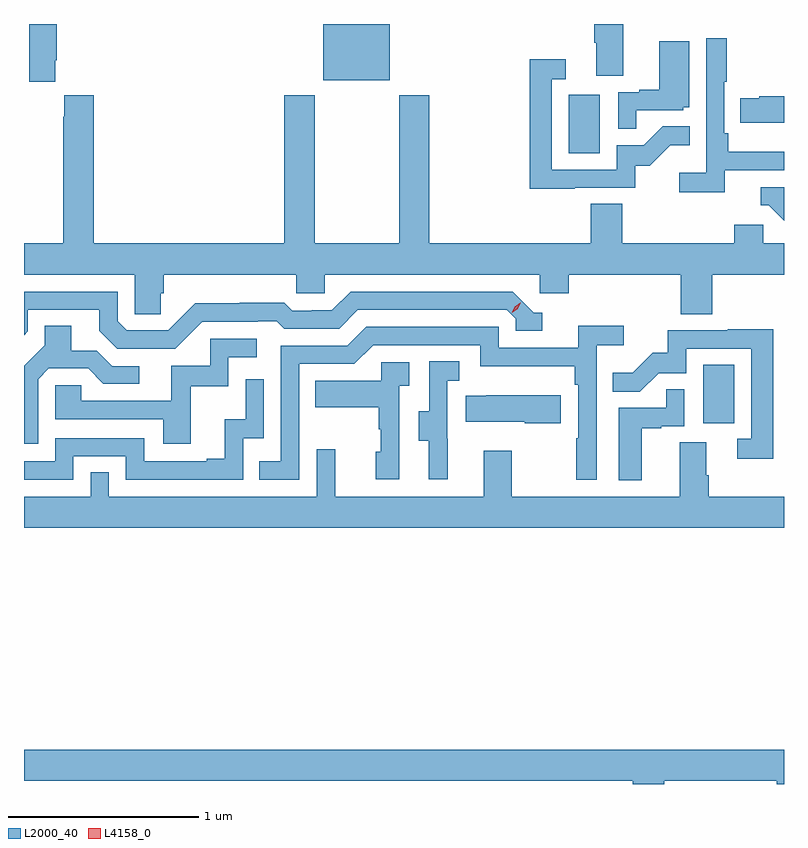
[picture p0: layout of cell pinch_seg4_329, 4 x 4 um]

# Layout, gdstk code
import gdstk
lib = gdstk.Library(unit=1e-6, precision=1e-09)
def R(c, l, rs):  # rectangles x0, y0, x1, y1
    for r in rs: c.add(gdstk.rectangle(r[:2], r[2:], *l))
def P(c, l, *ps):  # polygons
    for p in ps: c.add(gdstk.Polygon(p, *l))
L2000_40 = (2000, 40)
L4158_0 = (4158, 0)

pinch_seg4_329 = lib.new_cell('pinch_seg4_329')
R(pinch_seg4_329, L2000_40, [(986.762,809.358,986.926,809.665), (986.054,810.78,986.218,811.087), (984.764,811.163,985.114,811.459)])
P(pinch_seg4_329, L2000_40, [(983.353,811.267),(983.36,811.267),(983.36,811.459),(983.216,811.459),(983.216,811.155),(983.353,811.155)],
  [(986.341,811.459),(986.189,811.459),(986.189,811.36),(986.201,811.36),(986.201,811.186),(986.341,811.186)],
  [(986.876,810.69),(987.188,810.69),(987.188,810.787),(986.894,810.787),(986.894,810.883),(986.874,810.883),(986.874,811.156),(986.887,811.156),(986.887,811.384),(986.778,811.384),(986.778,810.676),(986.637,810.676),(986.637,810.574),(986.876,810.574)],
  [(986.411,811.005),(986.658,811.005),(986.658,811.02),(986.689,811.02),(986.689,811.369),(986.531,811.369),(986.531,811.114),(986.427,811.114),(986.427,811.101),(986.316,811.101),(986.316,810.907),(986.411,810.907)],
  [(986.087,810.597),(986.406,810.597),(986.406,810.714),(986.482,810.714),(986.589,810.821),(986.693,810.821),(986.693,810.92),(986.549,810.92),(986.451,810.822),(986.307,810.822),(986.307,810.693),(985.965,810.693),(985.965,811.167),(986.038,811.167),(986.038,811.273),(985.849,811.273),(985.849,810.592),(986.087,810.592)],
  [(983.909,810.042),(983.924,810.042),(983.924,810.14),(984.621,810.14),(984.621,810.042),(984.771,810.042),(984.771,810.14),(985.902,810.14),(985.902,810.042),(986.054,810.042),(986.054,810.14),(986.645,810.14),(986.645,809.932),(986.81,809.932),(986.81,810.14),(987.188,810.14),(987.188,810.304),(987.078,810.304),(987.078,810.402),(986.927,810.402),(986.927,810.304),(986.336,810.304),(986.336,810.512),(986.171,810.512),(986.171,810.304),(985.322,810.304),(985.322,811.084),(985.162,811.084),(985.162,810.304),(984.717,810.304),(984.717,811.084),(984.557,811.084),(984.557,810.304),(983.555,810.304),(983.555,811.084),(983.399,811.084),(983.399,810.971),(983.395,810.971),(983.395,810.304),(983.188,810.304),(983.188,810.14),(983.772,810.14),(983.772,809.932),(983.909,809.932)],
  [(987.188,811.078),(987.057,811.078),(987.057,811.068),(986.959,811.068),(986.959,810.938),(987.188,810.938)],
  [(987.188,810.6),(987.065,810.6),(987.065,810.504),(987.108,810.504),(987.188,810.424)],
  [(984.126,809.892),(984.419,809.892),(984.419,809.895),(984.518,809.895),(984.557,809.856),(984.846,809.856),(984.945,809.955),(985.728,809.955),(985.776,809.907),(985.776,809.844),(985.915,809.844),(985.915,809.94),(985.872,809.94),(985.761,810.051),(984.908,810.051),(984.809,809.952),(984.702,809.952),(984.702,809.949),(984.599,809.949),(984.557,809.992),(984.324,809.992),(984.324,809.989),(984.088,809.989),(983.946,809.847),(983.73,809.847),(983.682,809.895),(983.682,810.051),(983.188,810.051),(983.188,809.821),(983.208,809.841),(983.208,809.955),(983.585,809.955),(983.585,809.845),(983.679,809.751),(983.985,809.751)],
  [(983.262,809.589),(983.319,809.646),(983.525,809.646),(983.606,809.565),(983.794,809.565),(983.794,809.658),(983.652,809.658),(983.572,809.738),(983.437,809.738),(983.437,809.87),(983.297,809.87),(983.297,809.768),(983.19,809.661),(983.188,809.661),(983.188,809.25),(983.262,809.25)],
  [(984.636,809.67),(984.927,809.67),(985.026,809.769),(985.59,809.769),(985.59,809.657),(986.086,809.657),(986.086,809.561),(986.106,809.561),(986.106,809.279),(986.094,809.279),(986.094,809.061),(986.202,809.061),(986.202,809.768),(986.344,809.768),(986.344,809.87),(986.105,809.87),(986.105,809.754),(985.686,809.754),(985.686,809.865),(984.989,809.865),(984.89,809.766),(984.54,809.766),(984.54,809.157),(984.427,809.157),(984.427,809.061),(984.636,809.061)],
  [(987.131,809.852),(986.893,809.852),(986.893,809.847),(986.575,809.847),(986.575,809.73),(986.498,809.73),(986.391,809.623),(986.287,809.623),(986.287,809.524),(986.43,809.524),(986.528,809.622),(986.673,809.622),(986.673,809.751),(987.015,809.751),(987.015,809.277),(986.943,809.277),(986.943,809.172),(987.131,809.172)],
  [(984.065,809.553),(984.264,809.553),(984.264,809.706),(984.412,809.706),(984.412,809.802),(984.168,809.802),(984.168,809.661),(983.963,809.661),(983.963,809.475),(983.489,809.475),(983.489,809.559),(983.352,809.559),(983.352,809.379),(983.921,809.379),(983.921,809.25),(984.065,809.25)],
  [(985.418,809.277),(985.416,809.277),(985.416,809.581),(985.48,809.581),(985.48,809.684),(985.32,809.684),(985.32,809.421),(985.265,809.421),(985.265,809.266),(985.319,809.266),(985.319,809.064),(985.418,809.064)],
  [(985.164,809.555),(985.216,809.555),(985.216,809.679),(985.068,809.679),(985.068,809.581),(984.721,809.581),(984.721,809.441),(985.056,809.441),(985.056,809.327),(985.066,809.327),(985.066,809.208),(985.04,809.208),(985.04,809.064),(985.164,809.064)],
  [(983.448,809.184),(983.724,809.184),(983.724,809.061),(984.342,809.061),(984.342,809.28),(984.45,809.28),(984.45,809.59),(984.354,809.59),(984.354,809.378),(984.245,809.378),(984.245,809.17),(984.149,809.17),(984.149,809.157),(983.82,809.157),(983.82,809.28),(983.352,809.28),(983.352,809.157),(983.188,809.157),(983.188,809.061),(983.448,809.061)],
  [(986.44,809.331),(986.543,809.331),(986.543,809.343),(986.664,809.343),(986.664,809.537),(986.569,809.537),(986.569,809.439),(986.318,809.439),(986.318,809.057),(986.44,809.057)],
  [(986.014,809.506),(985.621,809.506),(985.621,809.503),(985.513,809.503),(985.513,809.366),(985.823,809.366),(985.823,809.359),(986.014,809.359)],
  [(987.188,808.972),(986.792,808.972),(986.792,809.084),(986.779,809.084),(986.779,809.258),(986.639,809.258),(986.639,808.972),(985.755,808.972),(985.755,809.212),(985.607,809.212),(985.607,808.972),(984.827,808.972),(984.827,809.221),(984.729,809.221),(984.729,808.972),(983.634,808.972),(983.634,809.099),(983.538,809.099),(983.538,808.972),(983.188,808.972),(983.188,808.808),(987.188,808.808)],
  [(986.558,807.476),(987.149,807.476),(987.149,807.459),(987.188,807.459),(987.188,807.64),(983.188,807.64),(983.188,807.476),(986.393,807.476),(986.393,807.459),(986.558,807.459)])
P(pinch_seg4_329, L4158_0, [(985.754,809.939),(985.754,809.939),(985.77,809.972),(985.801,809.991),(985.802,809.991),(985.802,809.991),(985.785,809.958),(985.754,809.939)])

lib.write_gds('pinch_seg4_329.gds')
